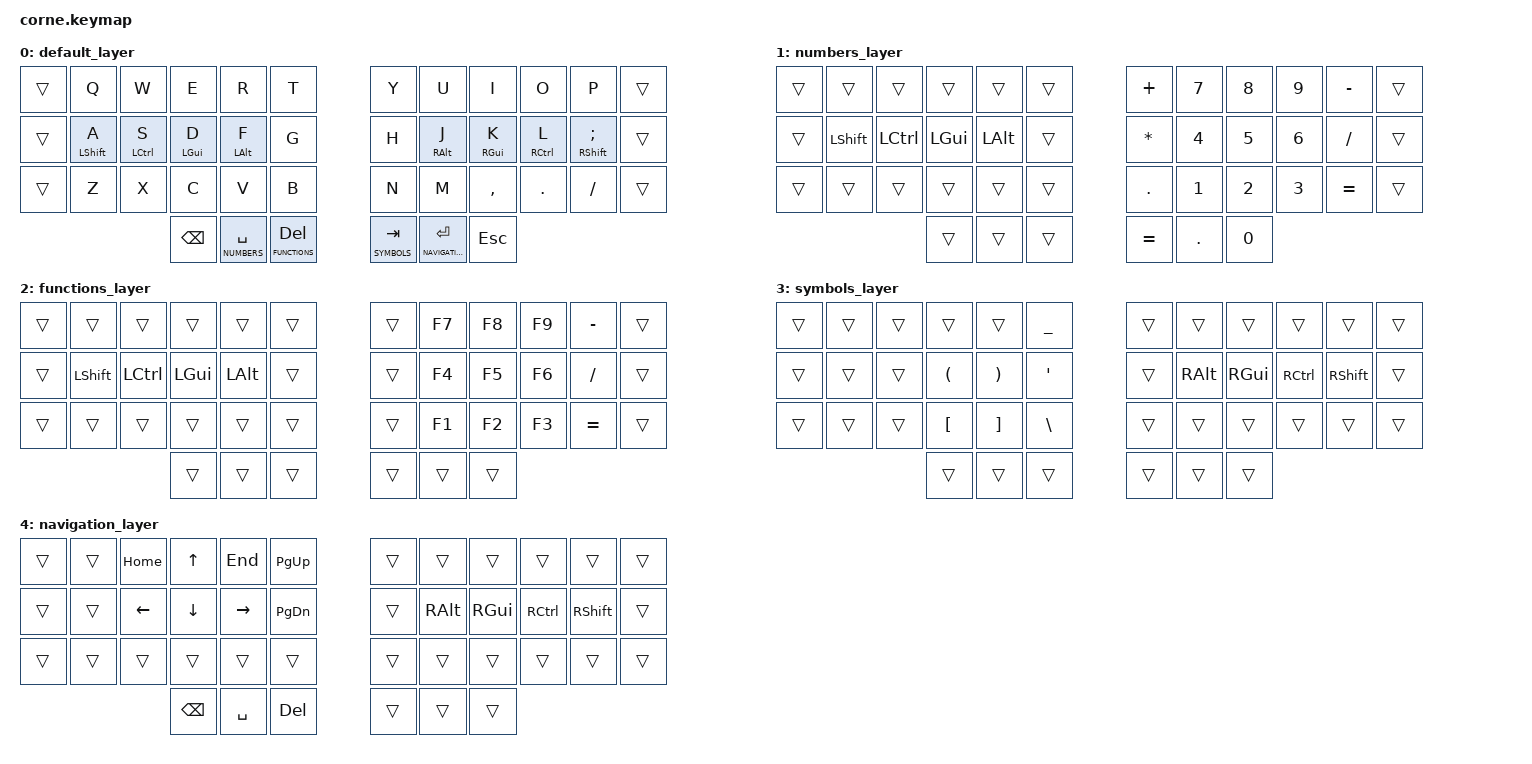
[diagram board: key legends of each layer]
/*
 * Copyright (c) 2020 The ZMK Contributors
 *
 * SPDX-License-Identifier: MIT
 */

#include <behaviors.dtsi>
#include <dt-bindings/zmk/keys.h>
#include <dt-bindings/zmk/bt.h>

#define DEFAULT     0
#define NUMBERS     1
#define FUNCTIONS   2
#define SYMBOLS     3
#define NAVIGATION  4

/ {
    behaviors {
       hrm: homerow_mods {
            compatible = "zmk,behavior-hold-tap";
            label = "HOMEROW_MODS";
            #binding-cells = <2>;
            tapping-term-ms = <150>;
            quick-tap-ms = <0>;
            flavor = "tap-preferred";
            bindings = <&kp>, <&kp>;
        };
    };
};

/ {
        keymap {
                compatible = "zmk,keymap";
                default_layer {
// -----------------------------------------------------------------------------------------
// |  TAB |  Q  |  W  |  E  |  R  |  T  |   |  Y  |  U   |  I  |  O  |  P  | BKSP |
// | CTRL |  A  |  S  |  D  |  F  |  G  |   |  H  |  J   |  K  |  L  |  ;  |  '   |
// | SHFT |  Z  |  X  |  C  |  V  |  B  |   |  N  |  M   |  ,  |  .  |  /  | ESC  |
//                    | GUI | LWR | SPC |   | ENT | RSE  | ALT |
                        bindings = <
   &trans   &kp Q         &kp W        &kp E               &kp R       &kp T            &kp Y    &kp U        &kp I        &kp O         &kp P              &trans
   &trans   &hrm LSHIFT A &hrm LCTRL S &hrm LGUI D         &hrm LALT F &kp G            &kp H    &hrm RALT J  &hrm RGUI K  &hrm RCTRL L  &hrm RSHIFT SEMI   &trans
   &trans   &kp Z         &kp X        &kp C               &kp V       &kp B            &kp N    &kp M        &kp COMMA    &kp DOT       &kp FSLH           &trans
                          &kp BSPC     &lt NUMBERS SPACE   &lt FUNCTIONS DELETE  &lt SYMBOLS TAB  &lt NAVIGATION ENTER      &kp ESC
                        >;
                };
                numbers_layer {
// -----------------------------------------------------------------------------------------
// |  TAB |  1  |  2  |  3  |  4  |  5  |   |  6  |  7  |  8  |  9  |  0  | BKSP |
// | BTCLR| BT1 | BT2 | BT3 | BT4 | BT5 |   | LFT | DWN |  UP | RGT |     |      |
// | SHFT |     |     |     |     |     |   |     |     |     |     |     |      |
//                    | GUI |     | SPC |   | ENT |     | ALT |
                        bindings = <
   &trans  &trans      &trans     &trans    &trans    &trans     &kp PLUS   &kp N7   &kp N8  &kp N9  &kp MINUS  &trans
   &trans  &kp LSHIFT  &kp LCTRL  &kp LGUI  &kp LALT  &trans     &kp ASTRK  &kp N4   &kp N5  &kp N6  &kp FSLH   &trans
   &trans  &trans      &trans     &trans    &trans    &trans     &kp DOT    &kp N1   &kp N2  &kp N3  &kp EQUAL  &trans
                                  &trans    &trans    &trans     &kp EQUAL  &kp DOT  &kp N0
                        >;
                };
                functions_layer {
// -----------------------------------------------------------------------------------------
// |  TAB |  !  |  @  |  #  |  $  |  %  |   |  ^  |  &  |  *  |  (  |  )  | BKSP |
// | CTRL |     |     |     |     |     |   |  -  |  =  |  [  |  ]  |  \  |  `   |
// | SHFT |     |     |     |     |     |   |  _  |  +  |  {  |  }  | "|" |  ~   |
//                    | GUI |     | SPC |   | ENT |     | ALT |
                        bindings = <
   &trans  &trans      &trans     &trans    &trans    &trans     &trans     &kp F7  &kp F8  &kp F9  &kp MINUS  &trans
   &trans  &kp LSHIFT  &kp LCTRL  &kp LGUI  &kp LALT  &trans     &trans     &kp F4  &kp F5  &kp F6  &kp FSLH   &trans
   &trans  &trans      &trans     &trans    &trans    &trans     &trans     &kp F1  &kp F2  &kp F3  &kp EQUAL  &trans
                                  &trans    &trans    &trans     &trans     &trans  &trans
                        >;
                };
                symbols_layer {
// -----------------------------------------------------------------------------------------
// |  TAB |  !  |  @  |  #  |  $  |  %  |   |  ^  |  &  |  *  |  (  |  )  | BKSP |
// | CTRL |     |     |     |     |     |   |  -  |  =  |  [  |  ]  |  \  |  `   |
// | SHFT |     |     |     |     |     |   |  _  |  +  |  {  |  }  | "|" |  ~   |
//                    | GUI |     | SPC |   | ENT |     | ALT |
                        bindings = <
   &trans  &trans  &trans  &trans    &trans    &kp UNDER  &trans   &trans    &trans    &trans     &trans      &trans
   &trans  &trans  &trans  &kp LPAR  &kp RPAR  &kp APOS   &trans   &kp RALT  &kp RGUI  &kp RCTRL  &kp RSHIFT  &trans
   &trans  &trans  &trans  &kp LBKT  &kp RBKT  &kp BSLH   &trans   &trans    &trans    &trans     &trans      &trans
                           &trans    &trans    &trans     &trans   &trans    &trans
                        >;
                };
               navigation_layer {
// -----------------------------------------------------------------------------------------
// |  TAB |  !  |  @  |  #  |  $  |  %  |   |  ^  |  &  |  *  |  (  |  )  | BKSP |
// | CTRL |     |     |     |     |     |   |  -  |  =  |  [  |  ]  |  \  |  `   |
// | SHFT |     |     |     |     |     |   |  _  |  +  |  {  |  }  | "|" |  ~   |
//                    | GUI |     | SPC |   | ENT |     | ALT |
                        bindings = <
   &trans  &trans  &kp HOME  &kp UP    &kp END    &kp PG_UP   &trans   &trans    &trans    &trans     &trans      &trans
   &trans  &trans  &kp LEFT  &kp DOWN  &kp RIGHT  &kp PG_DN   &trans   &kp RALT  &kp RGUI  &kp RCTRL  &kp RSHIFT  &trans
   &trans  &trans  &trans    &trans    &trans     &trans      &trans   &trans    &trans    &trans     &trans      &trans
                             &kp BSPC  &kp SPACE  &kp DELETE  &trans   &trans    &trans
                        >;
                };
        };
};
